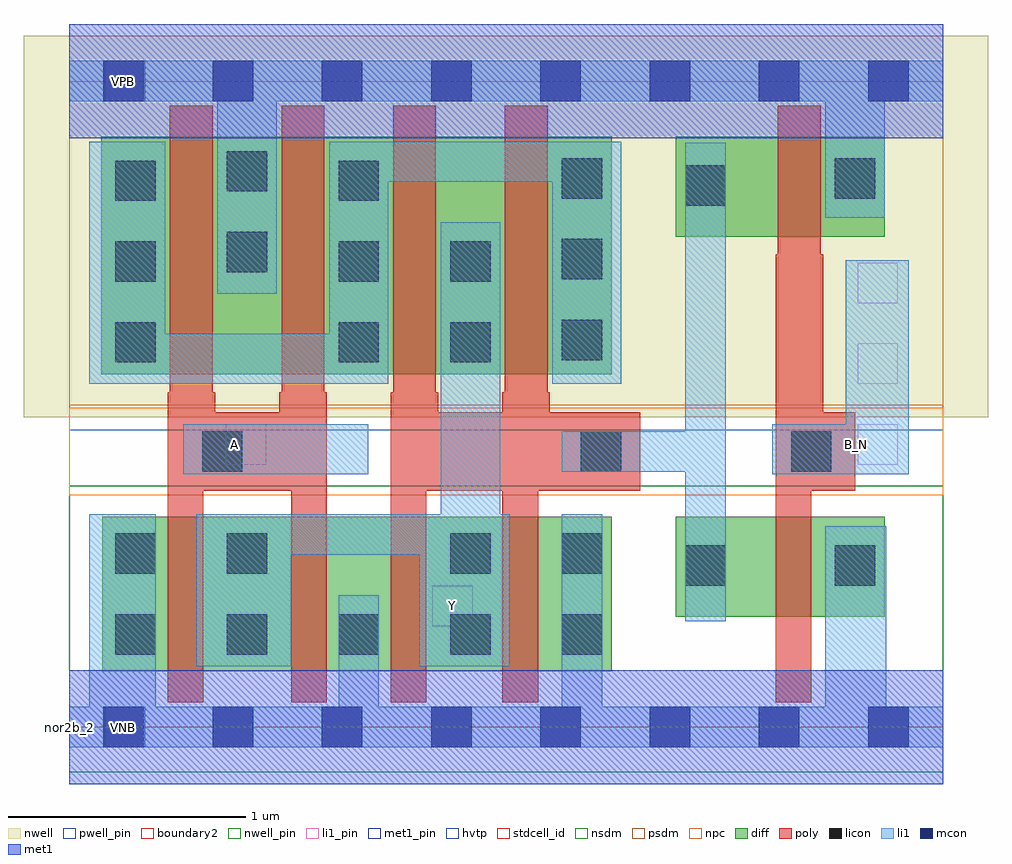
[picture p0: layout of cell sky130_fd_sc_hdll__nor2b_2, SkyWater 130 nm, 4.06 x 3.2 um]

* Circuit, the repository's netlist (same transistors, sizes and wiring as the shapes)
* Copyright 2020 The SkyWater PDK Authors
*
* Licensed under the Apache License, Version 2.0 (the "License");
* you may not use this file except in compliance with the License.
* You may obtain a copy of the License at
*
*     https://www.apache.org/licenses/LICENSE-2.0
*
* Unless required by applicable law or agreed to in writing, software
* distributed under the License is distributed on an "AS IS" BASIS,
* WITHOUT WARRANTIES OR CONDITIONS OF ANY KIND, either express or implied.
* See the License for the specific language governing permissions and
* limitations under the License.
*
* SPDX-License-Identifier: Apache-2.0

.SUBCKT sky130_fd_sc_hdll__nor2b_2 A B_N VGND VNB VPB VPWR Y
*.PININFO A:I B_N:I VGND:I VNB:I VPB:I VPWR:I Y:O
MMP0 VPWR A sndPA VPB sky130_fd_pr__pfet_01v8_hvt m=2 w=1.0U l=0.18U mult=1 sa=0.265
+ sb=0.265 sd=0.28 area=0.063 perim=1.14
MMP1 sndPA B Y VPB sky130_fd_pr__pfet_01v8_hvt m=2 w=1.0U l=0.18U mult=1 sa=0.265
+ sb=0.265 sd=0.28 area=0.063 perim=1.14
MMIP1 B B_N VPWR VPB sky130_fd_pr__pfet_01v8_hvt m=1 w=0.42U l=0.18U mult=1 sa=0.265
+ sb=0.265 sd=0.28 area=0.063 perim=1.14
MMN0 Y A VGND VNB sky130_fd_pr__nfet_01v8 m=2 w=0.65U l=0.15U mult=1 sa=0.265 sb=0.265
+ sd=0.28 area=0.063 perim=1.14
MMN1 Y B VGND VNB sky130_fd_pr__nfet_01v8 m=2 w=0.65U l=0.15U mult=1 sa=0.265 sb=0.265
+ sd=0.28 area=0.063 perim=1.14
MMIN1 B B_N VGND VNB sky130_fd_pr__nfet_01v8 m=1 w=0.42U l=0.15U mult=1 sa=0.265
+ sb=0.265 sd=0.28 area=0.063 perim=1.14
.ENDS sky130_fd_sc_hdll__nor2b_2

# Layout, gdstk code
import gdstk
lib = gdstk.Library(unit=1e-6, precision=1e-09)
def R(c, l, rs):  # rectangles x0, y0, x1, y1
    for r in rs: c.add(gdstk.rectangle(r[:2], r[2:], *l))
def A(c, l, x, y, w, h, nx, ny, dx, dy):  # array of equal rectangles
    R(c, l, [(x+i*dx, y+j*dy, x+i*dx+w, y+j*dy+h) for i in range(nx) for j in range(ny)])
def P(c, l, *ps):  # polygons
    for p in ps: c.add(gdstk.Polygon(p, *l))
nwell_pin = (64, 16)
nwell = (64, 20)
diff = (65, 20)
poly = (66, 20)
licon = (66, 44)
li1_pin = (67, 16)
li1 = (67, 20)
mcon = (67, 44)
met1_pin = (68, 16)
met1 = (68, 20)
hvtp = (78, 44)
stdcell_id = (81, 4)
nsdm = (93, 44)
psdm = (94, 20)
npc = (95, 20)
pwell_pin = (122, 16)
boundary2 = (236, 0)

sky130_fd_sc_hdll__nor2b = lib.new_cell('sky130_fd_sc_hdll__nor2b_2')
R(sky130_fd_sc_hdll__nor2b, nwell_pin, [(0.15,2.635,0.32,2.805)])
R(sky130_fd_sc_hdll__nor2b, nwell, [(-0.19,1.305,3.87,2.91)])
R(sky130_fd_sc_hdll__nor2b, diff, [(0.14,0.235,2.285,0.885), (2.555,0.465,3.435,0.885), (0.135,1.485,2.285,2.485), (2.555,2.065,3.435,2.485)])
P(sky130_fd_sc_hdll__nor2b, poly, [(1.085,1.41),(1.075,1.41),(1.075,2.615),(0.895,2.615),(0.895,1.41),(0.885,1.41),(0.885,1.325),(0.615,1.325),(0.615,1.41),(0.605,1.41),(0.605,2.615),(0.425,2.615),(0.425,1.41),(0.415,1.41),(0.415,0.105),(0.565,0.105),(0.565,0.995),(0.935,0.995),(0.935,0.105),(1.085,0.105)],
  [(2.405,1.325),(2.025,1.325),(2.025,1.41),(2.015,1.41),(2.015,2.615),(1.835,2.615),(1.835,1.41),(1.825,1.41),(1.825,1.325),(1.555,1.325),(1.555,1.41),(1.545,1.41),(1.545,2.615),(1.365,2.615),(1.365,1.41),(1.355,1.41),(1.355,0.105),(1.505,0.105),(1.505,0.995),(1.825,0.995),(1.825,0.105),(1.975,0.105),(1.975,0.995),(2.405,0.995)],
  [(3.31,1.325),(3.175,1.325),(3.175,1.99),(3.165,1.99),(3.165,2.615),(2.985,2.615),(2.985,1.99),(2.975,1.99),(2.975,0.105),(3.125,0.105),(3.125,0.995),(3.31,0.995)])
A(sky130_fd_sc_hdll__nor2b, licon, 0.195, 0.305, 0.17, 0.17, 5, 1, 0.47, 0)
A(sky130_fd_sc_hdll__nor2b, licon, 0.195, 1.535, 0.17, 0.17, 1, 3, 0, 0.34)
A(sky130_fd_sc_hdll__nor2b, licon, 1.135, 1.535, 0.17, 0.17, 1, 3, 0, 0.34)
A(sky130_fd_sc_hdll__nor2b, licon, 2.075, 1.545, 0.17, 0.17, 1, 3, 0, 0.34)
R(sky130_fd_sc_hdll__nor2b, licon, [(2.595,0.595,2.765,0.765), (3.225,0.595,3.395,0.765), (0.195,0.645,0.365,0.815), (0.665,0.645,0.835,0.815), (1.605,0.645,1.775,0.815), (2.075,0.645,2.245,0.815), (0.56,1.075,0.73,1.245), (2.155,1.075,2.325,1.245), (3.04,1.075,3.21,1.245), (1.605,1.535,1.775,1.705), (1.605,1.875,1.775,2.045), (0.665,1.915,0.835,2.085), (2.595,2.195,2.765,2.365), (3.225,2.225,3.395,2.395), (0.665,2.255,0.835,2.425)])
A(sky130_fd_sc_hdll__nor2b, li1_pin, 3.32, 1.105, 0.17, 0.17, 1, 3, 0, 0.34)
R(sky130_fd_sc_hdll__nor2b, li1_pin, [(1.53,0.425,1.7,0.595), (0.66,1.105,0.83,1.275)])
R(sky130_fd_sc_hdll__nor2b, li1, [(0.48,1.065,1.26,1.275)])
P(sky130_fd_sc_hdll__nor2b, li1, [(2.96,1.065),(2.96,1.275),(3.27,1.275),(3.27,1.965),(3.535,1.965),(3.535,1.065)],
  [(2.765,2.46),(2.595,2.46),(2.595,1.245),(2.075,1.245),(2.075,1.075),(2.595,1.075),(2.595,0.445),(2.765,0.445)],
  [(3.68,2.805),(0,2.805),(0,2.635),(0.625,2.635),(0.625,1.825),(0.875,1.825),(0.875,2.635),(3.185,2.635),(3.185,2.145),(3.435,2.145),(3.435,2.635),(3.68,2.635)],
  [(1.855,0.895),(1.815,0.895),(1.815,2.125),(1.565,2.125),(1.565,0.895),(0.535,0.895),(0.535,0.255),(0.935,0.255),(0.935,0.725),(1.475,0.725),(1.475,0.255),(1.855,0.255)],
  [(3.68,0.085),(3.44,0.085),(3.44,0.845),(3.185,0.845),(3.185,0.085),(2.245,0.085),(2.245,0.895),(2.075,0.895),(2.075,0.085),(1.305,0.085),(1.305,0.555),(1.135,0.555),(1.135,0.085),(0.365,0.085),(0.365,0.895),(0.085,0.895),(0.085,0.085),(0,0.085),(0,-0.085),(3.68,-0.085)],
  [(2.325,2.465),(1.095,2.465),(1.095,1.655),(0.405,1.655),(0.405,2.465),(0.085,2.465),(0.085,1.445),(1.345,1.445),(1.345,2.295),(2.035,2.295),(2.035,1.445),(2.325,1.445)])
A(sky130_fd_sc_hdll__nor2b, mcon, 0.145, -0.085, 0.17, 0.17, 8, 2, 0.46, 2.72)
R(sky130_fd_sc_hdll__nor2b, met1_pin, [(0.15,-0.085,0.32,0.085), (0.15,2.635,0.32,2.805)])
R(sky130_fd_sc_hdll__nor2b, met1, [(0,-0.24,3.68,0.24), (0,2.48,3.68,2.96)])
R(sky130_fd_sc_hdll__nor2b, hvtp, [(0,1.25,3.68,2.72)])
R(sky130_fd_sc_hdll__nor2b, stdcell_id, [(0,0,3.68,2.72)])
R(sky130_fd_sc_hdll__nor2b, nsdm, [(0,-0.19,3.68,1.015)])
R(sky130_fd_sc_hdll__nor2b, psdm, [(0,1.355,3.68,2.91)])
R(sky130_fd_sc_hdll__nor2b, npc, [(0,0.975,3.68,1.345)])
R(sky130_fd_sc_hdll__nor2b, pwell_pin, [(0.15,-0.085,0.32,0.085)])
R(sky130_fd_sc_hdll__nor2b, boundary2, [(0,0,3.68,2.72)])
sky130_fd_sc_hdll__nor2b.add(gdstk.Label('B_N', (3.315,1.19), layer=67, texttype=5))
sky130_fd_sc_hdll__nor2b.add(gdstk.Label('A', (0.695,1.19), layer=67, texttype=5))
sky130_fd_sc_hdll__nor2b.add(gdstk.Label('Y', (1.615,0.51), layer=67, texttype=5))
sky130_fd_sc_hdll__nor2b.add(gdstk.Label('VPB', (0.23,2.72), layer=64, texttype=5))
sky130_fd_sc_hdll__nor2b.add(gdstk.Label('VNB', (0.23,0), layer=64, texttype=59))
sky130_fd_sc_hdll__nor2b.add(gdstk.Label('VGND', (0.23,0), layer=68, texttype=5))
sky130_fd_sc_hdll__nor2b.add(gdstk.Label('VPWR', (0.23,2.72), layer=68, texttype=5))
sky130_fd_sc_hdll__nor2b.add(gdstk.Label('nor2b_2', (0,0), layer=83, texttype=44))

lib.write_gds('sky130_fd_sc_hdll__nor2b_2.gds')
